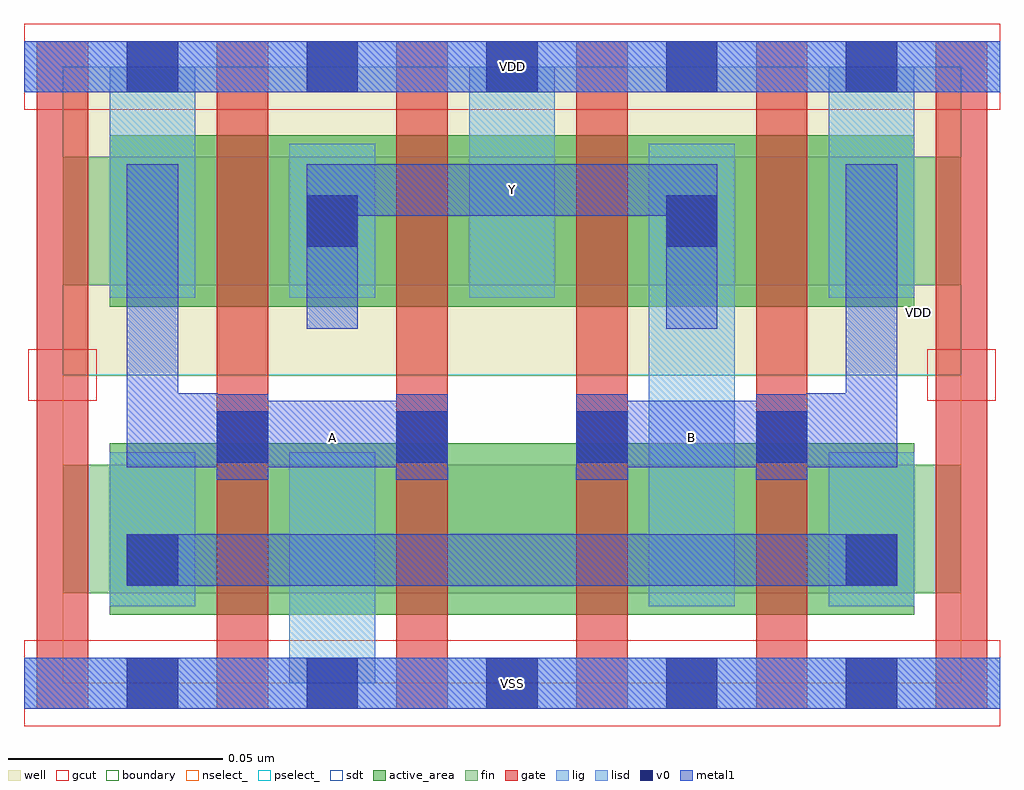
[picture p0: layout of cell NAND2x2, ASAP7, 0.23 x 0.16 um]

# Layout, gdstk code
import gdstk
lib = gdstk.Library(unit=1e-6, precision=2.5e-10)
def R(c, l, rs):  # rectangles x0, y0, x1, y1
    for r in rs: c.add(gdstk.rectangle(r[:2], r[2:], *l))
def A(c, l, x, y, w, h, nx, ny, dx, dy):  # array of equal rectangles
    R(c, l, [(x+i*dx, y+j*dy, x+i*dx+w, y+j*dy+h) for i in range(nx) for j in range(ny)])
def P(c, l, *ps):  # polygons
    for p in ps: c.add(gdstk.Polygon(p, *l))
well = (1, 0)
fin = (2, 0)
gate = (7, 0)
gcut = (10, 0)
active_area = (11, 0)
nselect_ = (12, 0)
pselect_ = (13, 0)
lig = (16, 0)
lisd = (17, 0)
v0 = (18, 0)
metal1 = (19, 0)
sdt = (88, 0)
boundary = (100, 0)

nand2x2 = lib.new_cell('NAND2x2')
R(nand2x2, well, [(0,0.072,0.21,0.144)])
R(nand2x2, fin, [(0,0.021,0.21,0.051), (0,0.093,0.21,0.123)])
A(nand2x2, gate, -0.006, -0.006, 0.012, 0.156, 6, 1, 0.042, 0)
R(nand2x2, gcut, [(-0.009,-0.01,0.219,0.01), (-0.008,0.066,0.008,0.078), (0.202,0.066,0.218,0.078), (-0.009,0.134,0.219,0.154)])
R(nand2x2, active_area, [(0.011,0.016,0.199,0.056), (0.011,0.088,0.199,0.128)])
R(nand2x2, nselect_, [(0,0,0.21,0.072)])
R(nand2x2, pselect_, [(0,0.072,0.21,0.144)])
A(nand2x2, lig, 0.036, 0.0515, 0.012, 0.012, 4, 1, 0.042, 0)
R(nand2x2, lig, [(-0.009,-0.006,0.219,0.006), (-0.009,0.138,0.219,0.15)])
A(nand2x2, lisd, 0.011, 0.09, 0.02, 0.054, 3, 1, 0.084, 0)
R(nand2x2, lisd, [(0.053,0,0.073,0.054), (0.011,0.018,0.031,0.054), (0.137,0.018,0.157,0.126), (0.179,0.018,0.199,0.054), (0.053,0.09,0.073,0.126)])
A(nand2x2, v0, 0.015, -0.006, 0.012, 0.012, 5, 2, 0.042, 0.144)
A(nand2x2, v0, 0.036, 0.0515, 0.012, 0.012, 4, 1, 0.042, 0)
R(nand2x2, v0, [(0.015,0.0227,0.027,0.0348), (0.183,0.0227,0.195,0.0348), (0.057,0.102,0.069,0.114), (0.141,0.102,0.153,0.114)])
R(nand2x2, metal1, [(-0.009,-0.006,0.219,0.006), (0.015,0.0227,0.195,0.0348), (-0.009,0.138,0.219,0.15)])
P(nand2x2, metal1, [(0.153,0.1212),(0.057,0.1212),(0.057,0.0828),(0.069,0.0828),(0.069,0.1092),(0.141,0.1092),(0.141,0.0828),(0.153,0.0828)],
  [(0.132,0.0505),(0.162,0.0505),(0.162,0.0475),(0.174,0.0475),(0.174,0.0505),(0.195,0.0505),(0.195,0.1212),(0.183,0.1212),(0.183,0.0678),(0.1738,0.0678),(0.1738,0.0675),(0.162,0.0675),(0.162,0.066),(0.132,0.066),(0.132,0.0675),(0.12,0.0675),(0.12,0.0475),(0.132,0.0475)],
  [(0.048,0.0505),(0.078,0.0505),(0.078,0.0475),(0.09,0.0475),(0.09,0.0675),(0.078,0.0675),(0.078,0.066),(0.048,0.066),(0.048,0.0675),(0.0362,0.0675),(0.0362,0.0678),(0.027,0.0678),(0.027,0.1212),(0.015,0.1212),(0.015,0.0505),(0.036,0.0505),(0.036,0.0475),(0.048,0.0475)])
A(nand2x2, sdt, 0.011, 0.093, 0.02, 0.03, 5, 1, 0.042, 0)
R(nand2x2, sdt, [(0.011,0.021,0.031,0.051), (0.053,0.021,0.073,0.051), (0.137,0.021,0.157,0.051), (0.179,0.021,0.199,0.051)])
R(nand2x2, boundary, [(0,0,0.21,0.144)])
nand2x2.add(gdstk.Label('VDD', (0.2,0.0865), layer=1, texttype=251))
nand2x2.add(gdstk.Label('VSS', (0.249,0.0505), layer=3, texttype=251))
nand2x2.add(gdstk.Label('B', (0.147,0.0575), layer=19, texttype=251))
nand2x2.add(gdstk.Label('Y', (0.105,0.1153), layer=19, texttype=251))
nand2x2.add(gdstk.Label('A', (0.063,0.0575), layer=19, texttype=251))
nand2x2.add(gdstk.Label('VSS', (0.105,0), layer=19, texttype=251))
nand2x2.add(gdstk.Label('VDD', (0.105,0.144), layer=19, texttype=251))

lib.write_gds('NAND2x2.gds')
